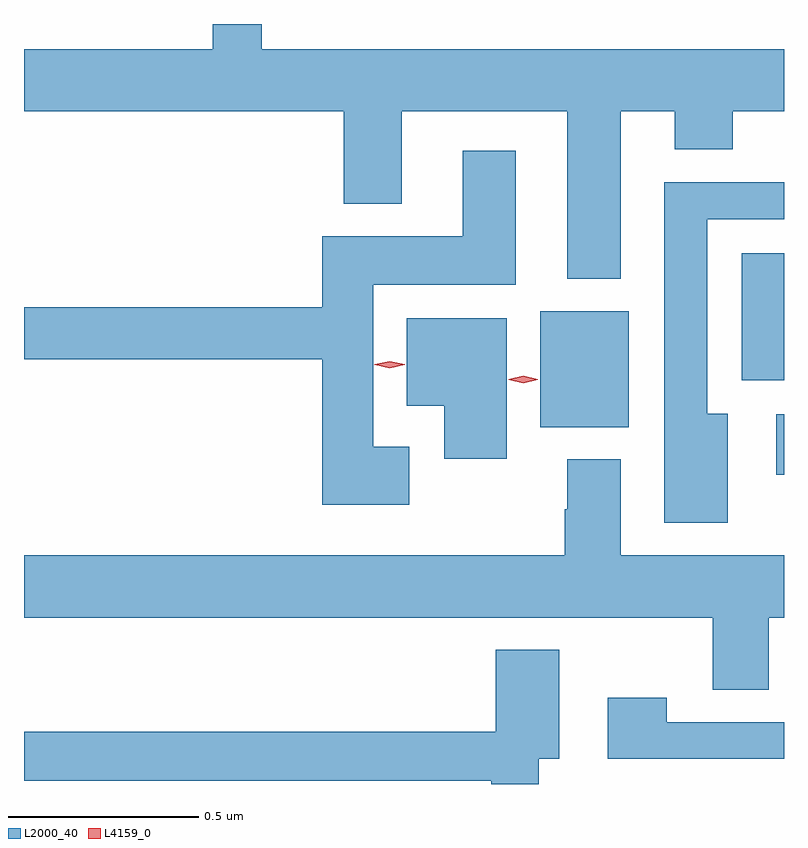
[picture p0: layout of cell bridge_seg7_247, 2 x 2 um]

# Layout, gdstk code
import gdstk
lib = gdstk.Library(unit=1e-6, precision=1e-09)
def R(c, l, rs):  # rectangles x0, y0, x1, y1
    for r in rs: c.add(gdstk.rectangle(r[:2], r[2:], *l))
def P(c, l, *ps):  # polygons
    for p in ps: c.add(gdstk.Polygon(p, *l))
L2000_40 = (2000, 40)
L4159_0 = (4159, 0)

bridge_seg7_247 = lib.new_cell('bridge_seg7_247')
R(bridge_seg7_247, L2000_40, [(260.007,1059.6,260.027,1059.759), (259.385,1059.725,259.618,1060.03), (259.916,1059.848,260.027,1060.183)])
P(bridge_seg7_247, L2000_40, [(259.597,1060.556),(259.739,1060.556),(259.739,1060.457),(259.892,1060.457),(259.892,1060.556),(260.027,1060.556),(260.027,1060.72),(258.653,1060.72),(258.653,1060.786),(258.524,1060.786),(258.524,1060.72),(258.027,1060.72),(258.027,1060.556),(258.869,1060.556),(258.869,1060.313),(259.021,1060.313),(259.021,1060.556),(259.457,1060.556),(259.457,1060.115),(259.597,1060.115)],
  [(259.041,1059.673),(258.946,1059.673),(258.946,1060.1),(259.321,1060.1),(259.321,1060.453),(259.181,1060.453),(259.181,1060.228),(258.812,1060.228),(258.812,1060.04),(258.027,1060.04),(258.027,1059.904),(258.812,1059.904),(258.812,1059.521),(259.041,1059.521)],
  [(259.879,1059.76),(259.825,1059.76),(259.825,1060.272),(260.027,1060.272),(260.027,1060.37),(259.712,1060.37),(259.712,1059.474),(259.879,1059.474)],
  [(259.297,1060.012),(259.034,1060.012),(259.034,1059.782),(259.133,1059.782),(259.133,1059.642),(259.297,1059.642)],
  [(259.987,1059.224),(260.027,1059.224),(260.027,1059.388),(259.597,1059.388),(259.597,1059.64),(259.457,1059.64),(259.457,1059.509),(259.45,1059.509),(259.45,1059.388),(258.027,1059.388),(258.027,1059.224),(259.84,1059.224),(259.84,1059.034),(259.987,1059.034)],
  [(259.381,1058.852),(259.435,1058.852),(259.435,1059.139),(259.268,1059.139),(259.268,1058.923),(258.027,1058.923),(258.027,1058.794),(259.256,1058.794),(259.256,1058.786),(259.381,1058.786)],
  [(260.027,1058.949),(259.719,1058.949),(259.719,1059.013),(259.563,1059.013),(259.563,1058.853),(260.027,1058.853)])
P(bridge_seg7_247, L4159_0, [(259.341,1059.841),(259.303,1059.85),(259.303,1059.851),(259.303,1059.851),(259.341,1059.861),(259.379,1059.851),(259.379,1059.851),(259.379,1059.85)],
  [(258.989,1059.88),(258.95,1059.889),(258.949,1059.889),(258.95,1059.89),(258.989,1059.899),(259.029,1059.89),(259.029,1059.89),(259.029,1059.889)])

lib.write_gds('bridge_seg7_247.gds')
